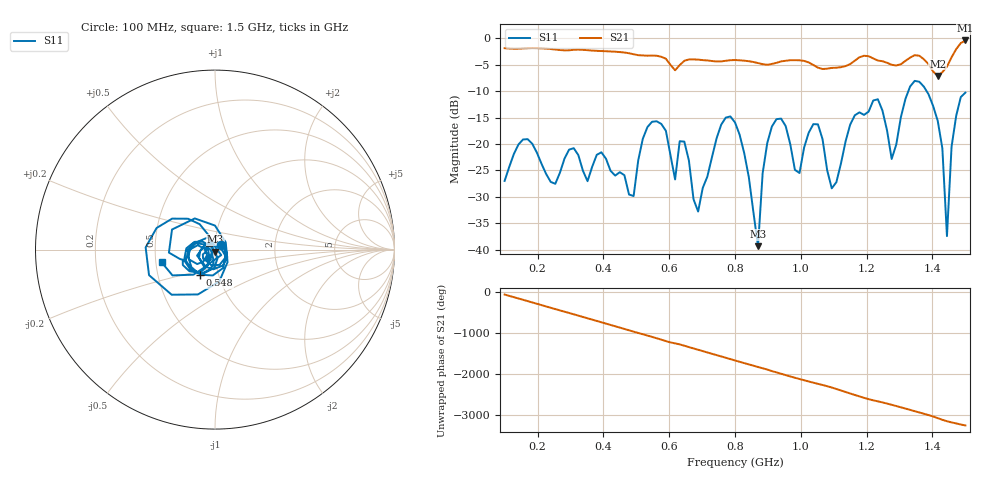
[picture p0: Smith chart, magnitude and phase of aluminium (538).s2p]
! NanoVNA-App
! Date: 2025-09-25 14:59:28
! Start: 100MHz Stop: 1,5GHz Points: 101
! S-Parameter data: F S11 S21 S12 S22
# Hz S RI R 50
!  Frequency  S11_Real  S11_Imag  S21_Real  S21_Imag  S12_Real  S12_Imag  S22_Real  S22_Imag
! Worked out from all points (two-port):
!   101 points, 100 MHz to 1.5 GHz, reference 50 ohm
!   highest |S21| = -0.46 dB at 1.5 GHz (marker M1); lowest = -7.2 dB at 1.416 GHz (marker M2)
!   |S21| within 3 dB of the highest: start of sweep to 570.4 MHz; 1.46 GHz to end of sweep (the widest 2 of 4)
!   lowest |S11| = -39.3 dB at 870 MHz (marker M3), VSWR 1.02, Z = 50.2 - j1.07 ohm
!   |S11| at or under -10 dB: start of sweep to 1.327 GHz; 1.382 GHz to end of sweep
!   S12 and S22 are empty: the file has one direction only
!   S11 on the Smith chart (normalised r, x): 100 MHz: 1.07, +0.06; 548 MHz: 0.82, -0.24; 1.5 GHz: 0.54, -0.08
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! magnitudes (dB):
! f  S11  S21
! 100 MHz  -27.0  -1.9
! 156 MHz  -19.1  -2.0
! 338 MHz  -25.0  -2.2
! 492 MHz  -29.8  -3.1
! 548 MHz  -15.8  -3.3
! 576 MHz  -16.2  -3.5
! 618 MHz  -26.7  -6.1
! 646 MHz  -19.6  -4.3
! 688 MHz  -32.7  -4.1
! 800 MHz  -15.9  -4.2
! 870 MHz  -39.3  -4.7
! 912 MHz  -16.7  -4.9
! 996 MHz  -25.5  -4.2
! 1.038 GHz  -16.3  -5.1
! 1.094 GHz  -28.4  -5.6
! 1.22 GHz  -11.8  -3.9
! 1.276 GHz  -22.8  -5.0
! 1.346 GHz  -8.1  -3.2
! 1.416 GHz  -15.6  -7.2
! 1.444 GHz  -37.4  -5.4
! 1.458 GHz  -20.5  -3.6
! 1.5 GHz  -10.3  -0.5
